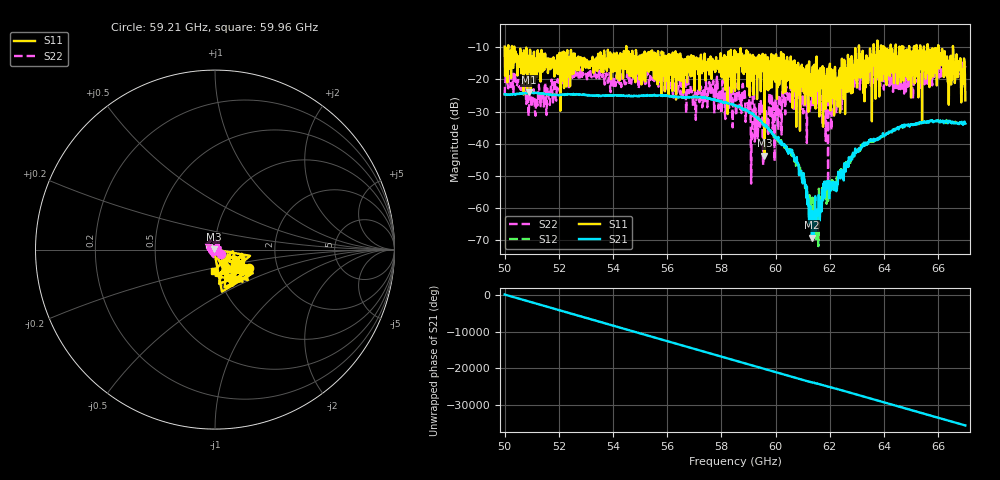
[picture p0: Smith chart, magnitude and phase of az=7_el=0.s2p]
!Created with skrf (http://scikit-rf.org).
# GHz S RI R 50.0
!freq ReS11 ImS11 ReS21 ImS21 ReS12 ImS12 ReS22 ImS22
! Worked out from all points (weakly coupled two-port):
!   1001 points, 50 GHz to 67 GHz, reference 50 ohm
!   highest |S21| = -24.07 dB at 50.9 GHz (marker M1); lowest = -69.1 dB at 61.34 GHz (marker M2)
!   lowest |S11| = -43.7 dB at 59.59 GHz (marker M3), VSWR 1.01, Z = 49.4 + j0.146 ohm
!   |S11| at or under -10 dB: 50.36 GHz to 54.49 GHz (4.129 GHz wide, 7.88 % of centre); 54.49 GHz to 63.07 GHz (8.582 GHz wide, 14.6 % of centre); 63.08 GHz to 63.61 GHz (537.6 MHz wide, 0.849 % of centre) (the widest 3 of 23)
!   |S22| runs from -52.4 to -13.9 dB; largest |S21 - S12| = 0.0023
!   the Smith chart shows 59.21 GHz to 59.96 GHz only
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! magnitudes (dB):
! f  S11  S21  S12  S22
! 50 GHz  -9.8  -24.6  -24.6  -25.0
! 50.34 GHz  -13.5  -24.7  -24.6  -20.3
! 50.9 GHz  -16.2  -24.1  -24.1  -28.6
! 52.84 GHz  -14.1  -24.8  -24.9  -20.0
! 55.68 GHz  -13.2  -24.9  -25.0  -22.3
! 57 GHz  -23.5  -25.4  -25.3  -21.3
! 57.62 GHz  -15.6  -26.3  -26.1  -21.4
! 58.5 GHz  -23.6  -28.0  -28.3  -25.4
! 59.59 GHz  -43.7  -34.4  -33.8  -29.1
! 59.84 GHz  -12.1  -36.7  -36.6  -25.2
! 60.03 GHz  -14.5  -38.1  -38.0  -31.1
! 60.76 GHz  -34.7  -45.4  -44.6  -28.4
! 61.34 GHz  -25.1  -69.1  -68.7  -25.3
! 61.54 GHz  -23.5  -62.3  -60.8  -24.0
! 62 GHz  -15.1  -51.8  -52.2  -25.1
! 62.55 GHz  -14.9  -46.1  -46.9  -19.4
! 63.01 GHz  -22.6  -42.3  -42.2  -20.0
! 64.18 GHz  -17.8  -36.5  -36.2  -18.5
! 66.08 GHz  -15.4  -32.8  -32.8  -15.4
! 66.42 GHz  -15.6  -33.1  -33.1  -16.5
! 66.75 GHz  -17.0  -33.6  -33.5  -18.4
! 67 GHz  -26.5  -33.7  -33.4  -15.8
